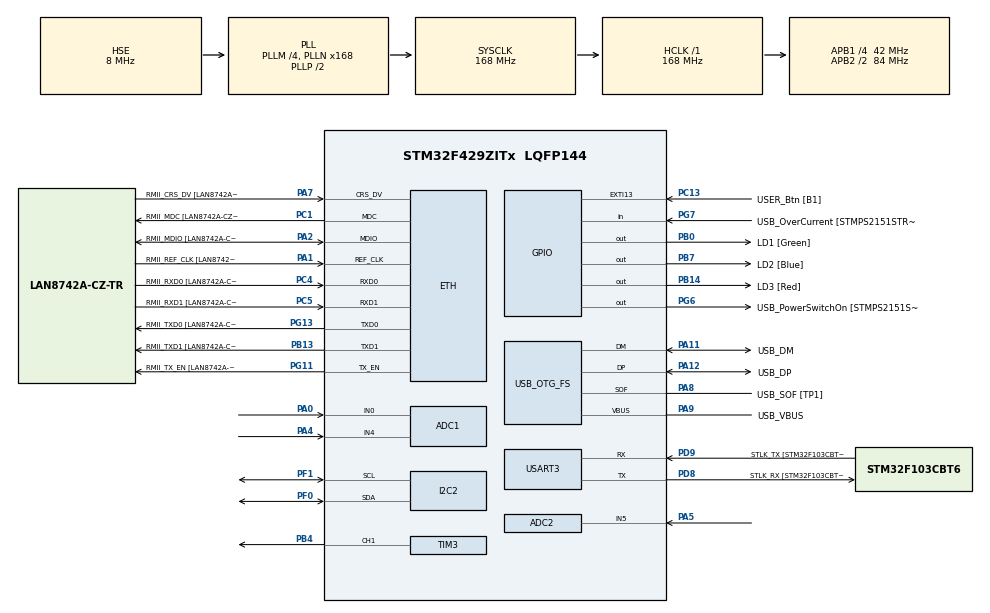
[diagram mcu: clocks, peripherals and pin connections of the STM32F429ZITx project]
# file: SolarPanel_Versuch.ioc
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ADC1.Channel-0\#ChannelRegularConversion=ADC_CHANNEL_0
ADC1.Channel-1\#ChannelRegularConversion=ADC_CHANNEL_0
ADC1.NbrOfConversion=2
ADC1.NbrOfConversionFlag=1
ADC1.Rank-0\#ChannelRegularConversion=1
ADC1.Rank-1\#ChannelRegularConversion=2
ADC1.SamplingTime-0\#ChannelRegularConversion=ADC_SAMPLETIME_3CYCLES
ADC1.SamplingTime-1\#ChannelRegularConversion=ADC_SAMPLETIME_3CYCLES
ADC1.ScanConvMode=ENABLE
ADC1.master=1
ADC2.Channel-0\#ChannelRegularConversion=ADC_CHANNEL_5
ADC2.NbrOfConversionFlag=1
ADC2.Rank-0\#ChannelRegularConversion=1
ADC2.SamplingTime-0\#ChannelRegularConversion=ADC_SAMPLETIME_3CYCLES
ADC2.ScanConvMode=ENABLE
ETH.MediaInterface=HAL_ETH_RMII_MODE
ETH.PHY_Name=LAN8742A_PHY_ADDRESS
ETH.PHY_Value=0
ETH.PhyAddress=0
Mcu.Family=STM32F4
Mcu.Name=STM32F429ZITx
Mcu.Package=LQFP144
NVIC.PriorityGroup=NVIC_PRIORITYGROUP_4
PA0/WKUP.Signal=ADCx_IN0
PA1.GPIO_Label=RMII_REF_CLK [LAN8742A-CZ-TR_REFCLK0]
PA1.Mode=RMII
PA1.Signal=ETH_REF_CLK
PA10.GPIO_Label=USB_ID
PA10.Signal=USB_OTG_FS_ID
PA11.GPIO_Label=USB_DM
PA11.Mode=Device_Only
PA11.Signal=USB_OTG_FS_DM
PA12.GPIO_Label=USB_DP
PA12.Mode=Device_Only
PA12.Signal=USB_OTG_FS_DP
PA13.GPIO_Label=TMS
PA13.Mode=Serial_Wire
PA13.Signal=SYS_JTMS-SWDIO
PA14.GPIO_Label=TCK
PA14.Mode=Serial_Wire
PA14.Signal=SYS_JTCK-SWCLK
PA2.GPIO_Label=RMII_MDIO [LAN8742A-CZ-TR_MDIO]
PA2.Mode=RMII
PA2.Signal=ETH_MDIO
PA4.Signal=ADCx_IN4
PA5.Signal=ADCx_IN5
PA7.GPIO_Label=RMII_CRS_DV [LAN8742A-CZ-TR_CRS_DV]
PA7.Mode=RMII
PA7.Signal=ETH_CRS_DV
PA8.GPIO_Label=USB_SOF [TP1]
PA8.Mode=Activate_SOF_FS
PA8.Signal=USB_OTG_FS_SOF
PA9.GPIO_Label=USB_VBUS
PA9.Mode=Activate_VBUS
PA9.Signal=USB_OTG_FS_VBUS
PB0.GPIO_Label=LD1 [Green]
PB0.Signal=GPIO_Output
PB13.GPIO_Label=RMII_TXD1 [LAN8742A-CZ-TR_TXD1]
PB13.Mode=RMII
PB13.Signal=ETH_TXD1
PB14.GPIO_Label=LD3 [Red]
PB14.Signal=GPIO_Output
PB4.Signal=S_TIM3_CH1
PB7.GPIO_Label=LD2 [Blue]
PB7.Signal=GPIO_Output
PC1.GPIO_Label=RMII_MDC [LAN8742A-CZ-TR_MDC]
PC1.Mode=RMII
PC1.Signal=ETH_MDC
PC13.GPIO_Label=USER_Btn [B1]
PC13.Signal=GPXTI13
PC14/OSC32_IN.Mode=LSE-External-Oscillator
PC14/OSC32_IN.Signal=RCC_OSC32_IN
PC15/OSC32_OUT.Mode=LSE-External-Oscillator
PC15/OSC32_OUT.Signal=RCC_OSC32_OUT
PC4.GPIO_Label=RMII_RXD0 [LAN8742A-CZ-TR_RXD0]
PC4.Mode=RMII
PC4.Signal=ETH_RXD0
PC5.GPIO_Label=RMII_RXD1 [LAN8742A-CZ-TR_RXD1]
PC5.Mode=RMII
PC5.Signal=ETH_RXD1
PD8.GPIO_Label=STLK_RX [STM32F103CBT6_PA3]
PD8.Mode=Asynchronous
PD8.Signal=USART3_TX
PD9.GPIO_Label=STLK_TX [STM32F103CBT6_PA2]
PD9.Mode=Asynchronous
PD9.Signal=USART3_RX
PF0.Mode=I2C
PF0.Signal=I2C2_SDA
PF1.Mode=I2C
PF1.Signal=I2C2_SCL
PG11.GPIO_Label=RMII_TX_EN [LAN8742A-CZ-TR_TXEN]
PG11.Mode=RMII
PG11.Signal=ETH_TX_EN
PG13.GPIO_Label=RMII_TXD0 [LAN8742A-CZ-TR_TXD0]
PG13.Mode=RMII
PG13.Signal=ETH_TXD0
PG6.GPIO_Label=USB_PowerSwitchOn [STMPS2151STR_EN]
PG6.Signal=GPIO_Output
PG7.GPIO_Label=USB_OverCurrent [STMPS2151STR_FAULT]
PG7.Signal=GPIO_Input
PH0/OSC_IN.GPIO_Label=MCO [STM32F103CBT6_PA8]
PH0/OSC_IN.Mode=HSE-External-Clock-Source
PH0/OSC_IN.Signal=RCC_OSC_IN
PH1/OSC_OUT.Mode=HSE-External-Clock-Source
PH1/OSC_OUT.Signal=RCC_OSC_OUT
ProjectManager.HeapSize=0x200
ProjectManager.StackSize=0x400
ProjectManager.TargetToolchain=STM32CubeIDE
RCC.48MHZClocksFreq_Value=48000000
RCC.AHBFreq_Value=168000000
RCC.APB1CLKDivider=RCC_HCLK_DIV4
RCC.APB1Freq_Value=42000000
RCC.APB1TimFreq_Value=84000000
RCC.APB2CLKDivider=RCC_HCLK_DIV2
RCC.APB2Freq_Value=84000000
RCC.APB2TimCLKDivider=2
RCC.APB2TimFreq_Value=168000000
RCC.CortexFreq_Value=168000000
RCC.HCLKFreq_Value=168000000
RCC.HSE_VALUE=8000000
RCC.HSI_VALUE=16000000
RCC.PLLM=4
RCC.PLLMUL=RCC_PLL_MUL9
RCC.PLLN=168
RCC.PLLQ=7
RCC.PRESCALERUSB=RCC_USBCLKSOURCE_PLL_DIV1_5
RCC.SYSCLKFreq_VALUE=168000000
RCC.SYSCLKSource=RCC_SYSCLKSOURCE_PLLCLK
RCC.SYSCLKSourceVirtual=RCC_SYSCLKSOURCE_PLLCLK
RCC.USBFreq_Value=48000000
RCC.VCOOutputFreq_Value=336000000
SH.ADCx_IN0.0=ADC1_IN0,IN0
SH.ADCx_IN4.0=ADC1_IN4,IN4
SH.ADCx_IN5.0=ADC2_IN5,IN5
SH.S_TIM3_CH1.0=TIM3_CH1,PWM Generation1 CH1
TIM3.Channel-PWM\ Generation1\ CH1=TIM_CHANNEL_1
TIM3.Period=19999
TIM3.Prescaler=83
USART3.VirtualMode=VM_ASYNC
USB_OTG_FS.VirtualMode=Device_Only
VP_TIM3_VS_ClockSourceINT.Mode=Internal
board=NUCLEO-F429ZI

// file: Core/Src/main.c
/* USER CODE BEGIN Header */
/**
  ******************************************************************************
  * @file           : main.c
  * @brief          : Main program body
  ******************************************************************************
  * @attention
  *
  * Copyright (c) 2025 STMicroelectronics.
  * All rights reserved.
  *
  * This software is licensed under terms that can be found in the LICENSE file
  * in the root directory of this software component.
  * If no LICENSE file comes with this software, it is provided AS-IS.
  *
  ******************************************************************************
  */
/* USER CODE END Header */
#include "main.h"
#include "string.h"

/* USER CODE BEGIN Includes */
#include "lcd.h"
#include <stdlib.h>
#include <stdio.h>
LCD_HandleTypeDef lcd;

/* USER CODE END Includes */

/* USER CODE BEGIN PM */
uint32_t last_pulse = 1500;
/* USER CODE END PM */

ETH_TxPacketConfig TxConfig;
ETH_DMADescTypeDef  DMARxDscrTab[ETH_RX_DESC_CNT]; /* Ethernet Rx DMA Descriptors */
ETH_DMADescTypeDef  DMATxDscrTab[ETH_TX_DESC_CNT]; /* Ethernet Tx DMA Descriptors */

ADC_HandleTypeDef hadc1;
ADC_HandleTypeDef hadc2;

ETH_HandleTypeDef heth;

I2C_HandleTypeDef hi2c2;

TIM_HandleTypeDef htim3;

UART_HandleTypeDef huart3;

PCD_HandleTypeDef hpcd_USB_OTG_FS;

void SystemClock_Config(void);
static void MX_GPIO_Init(void);
static void MX_ETH_Init(void);
static void MX_USART3_UART_Init(void);
static void MX_USB_OTG_FS_PCD_Init(void);
static void MX_TIM3_Init(void);
static void MX_ADC1_Init(void);
static void MX_I2C2_Init(void);
static void MX_ADC2_Init(void);

/* USER CODE BEGIN 0 */

uint32_t avg(uint8_t n){
    uint32_t prom=0;
    for(uint8_t i=0;i<n;i++){
        HAL_ADC_Start(&hadc1);
        HAL_ADC_PollForConversion(&hadc1, HAL_MAX_DELAY);
        prom += HAL_ADC_GetValue(&hadc1);
    }
    return prom/n;
}

void ServoMove(uint16_t pulse){
	if(pulse <900){
		pulse = 900;
	}
	if(pulse >2100){
		pulse = 2100;
	}
    int dif = abs((int)pulse - (int)last_pulse);
	if(dif<=10){
		return;
	}
	__HAL_TIM_SET_COMPARE(&htim3, TIM_CHANNEL_1, pulse);
	last_pulse = pulse;
}

/* USER CODE END 0 */

int main(void)
{

  /* MCU Configuration--------------------------------------------------------*/

  /* Reset of all peripherals, Initializes the Flash interface and the Systick. */
  HAL_Init();

  /* Configure the system clock */
  SystemClock_Config();

  /* Initialize all configured peripherals */
  MX_GPIO_Init();
  MX_ETH_Init();
  MX_USART3_UART_Init();
  MX_USB_OTG_FS_PCD_Init();
  MX_TIM3_Init();
  MX_ADC1_Init();
  MX_I2C2_Init();
  MX_ADC2_Init();
  /* USER CODE BEGIN 2 */

  //for the display used is versuch 3 auf2
   lcd.i2c      = &hi2c2;
   lcd.i2c_addr = (0x27 << 1);
   lcd.backlight_enable = true;
   LCD_Begin(&lcd);
   LCD_Clear(&lcd);
   LCD_SetCursor(&lcd,0,0);
   //LCD_Print(&lcd, "Hello Jorge"); //testing display prints

  HAL_TIM_PWM_Start(&htim3, TIM_CHANNEL_1);
  //HAL_ADC_Start(&hadc1);

   //Section for seeing which is the maximum value//
  /*for (int i = 1350; i <= 2200; i += 50) {
    __HAL_TIM_SET_COMPARE(&htim3, TIM_CHANNEL_1, i);
    HAL_Delay(200);
  }*/

   //function moving servo

  ServoMove(1000);
  HAL_Delay(2000);
  ServoMove(2000);
  HAL_Delay(2000);
  ServoMove(1500);
  HAL_Delay(2000);

   //Section trying to make the servo work

  /*__HAL_TIM_SET_COMPARE(&htim3, TIM_CHANNEL_1, 1000);
  HAL_Delay(2000);
  __HAL_TIM_SET_COMPARE(&htim3, TIM_CHANNEL_1, 2000);
  HAL_Delay(2000);
  __HAL_TIM_SET_COMPARE(&htim3, TIM_CHANNEL_1, 1500);
  HAL_Delay(2000);*/
  /* USER CODE END 2 */

  /* Infinite loop */
  /* USER CODE BEGIN WHILE */
  while (1)
  {
	  //LDR 1
	  HAL_ADC_Start(&hadc1);
	      HAL_ADC_PollForConversion(&hadc1, HAL_MAX_DELAY);
	      uint32_t value = HAL_ADC_GetValue(&hadc1);
	      LCD_SetCursor(&lcd, 0, 0);
	      LCD_Printf(&lcd, "ADC:%4lu     ", value);

	     // uint32_t value2 = avg(16);
	      //LCD_SetCursor(&lcd, 1, 0);
	      //LCD_Printf(&lcd, "ADC:%4lu     ", value2);

	      HAL_Delay(200);

	      //LDR 2
	      HAL_ADC_Start(&hadc2);
		  HAL_ADC_PollForConversion(&hadc2, HAL_MAX_DELAY);
		  uint32_t value2 = HAL_ADC_GetValue(&hadc2);
		  LCD_SetCursor(&lcd, 1, 0);
		  LCD_Printf(&lcd, "ADC:%4lu     ", value2);

		  HAL_Delay(100);

    /* USER CODE END WHILE */

  }
}

void SystemClock_Config(void)
{
  RCC_OscInitTypeDef RCC_OscInitStruct = {0};
  RCC_ClkInitTypeDef RCC_ClkInitStruct = {0};

  /** Configure the main internal regulator output voltage
  */
  __HAL_RCC_PWR_CLK_ENABLE();
  __HAL_PWR_VOLTAGESCALING_CONFIG(PWR_REGULATOR_VOLTAGE_SCALE1);

  /** Initializes the RCC Oscillators according to the specified parameters
  * in the RCC_OscInitTypeDef structure.
  */
  RCC_OscInitStruct.OscillatorType = RCC_OSCILLATORTYPE_HSE;
  RCC_OscInitStruct.HSEState = RCC_HSE_BYPASS;
  RCC_OscInitStruct.PLL.PLLState = RCC_PLL_ON;
  RCC_OscInitStruct.PLL.PLLSource = RCC_PLLSOURCE_HSE;
  RCC_OscInitStruct.PLL.PLLM = 4;
  RCC_OscInitStruct.PLL.PLLN = 168;
  RCC_OscInitStruct.PLL.PLLP = RCC_PLLP_DIV2;
  RCC_OscInitStruct.PLL.PLLQ = 7;
  if (HAL_RCC_OscConfig(&RCC_OscInitStruct) != HAL_OK)
  {
    Error_Handler();
  }

  /** Initializes the CPU, AHB and APB buses clocks
  */
  RCC_ClkInitStruct.ClockType = RCC_CLOCKTYPE_HCLK|RCC_CLOCKTYPE_SYSCLK
                              |RCC_CLOCKTYPE_PCLK1|RCC_CLOCKTYPE_PCLK2;
  RCC_ClkInitStruct.SYSCLKSource = RCC_SYSCLKSOURCE_PLLCLK;
  RCC_ClkInitStruct.AHBCLKDivider = RCC_SYSCLK_DIV1;
  RCC_ClkInitStruct.APB1CLKDivider = RCC_HCLK_DIV4;
  RCC_ClkInitStruct.APB2CLKDivider = RCC_HCLK_DIV2;

  if (HAL_RCC_ClockConfig(&RCC_ClkInitStruct, FLASH_LATENCY_5) != HAL_OK)
  {
    Error_Handler();
  }
}

static void MX_ADC1_Init(void)
{

  ADC_ChannelConfTypeDef sConfig = {0};

  /** Configure the global features of the ADC (Clock, Resolution, Data Alignment and number of conversion)
  */
  hadc1.Instance = ADC1;
  hadc1.Init.ClockPrescaler = ADC_CLOCK_SYNC_PCLK_DIV4;
  hadc1.Init.Resolution = ADC_RESOLUTION_12B;
  hadc1.Init.ScanConvMode = ENABLE;
  hadc1.Init.ContinuousConvMode = DISABLE;
  hadc1.Init.DiscontinuousConvMode = DISABLE;
  hadc1.Init.ExternalTrigConvEdge = ADC_EXTERNALTRIGCONVEDGE_NONE;
  hadc1.Init.ExternalTrigConv = ADC_SOFTWARE_START;
  hadc1.Init.DataAlign = ADC_DATAALIGN_RIGHT;
  hadc1.Init.NbrOfConversion = 2;
  hadc1.Init.DMAContinuousRequests = DISABLE;
  hadc1.Init.EOCSelection = ADC_EOC_SINGLE_CONV;
  if (HAL_ADC_Init(&hadc1) != HAL_OK)
  {
    Error_Handler();
  }

  /** Configure for the selected ADC regular channel its corresponding rank in the sequencer and its sample time.
  */
  sConfig.Channel = ADC_CHANNEL_0;
  sConfig.Rank = 1;
  sConfig.SamplingTime = ADC_SAMPLETIME_3CYCLES;
  if (HAL_ADC_ConfigChannel(&hadc1, &sConfig) != HAL_OK)
  {
    Error_Handler();
  }

  /** Configure for the selected ADC regular channel its corresponding rank in the sequencer and its sample time.
  */
  sConfig.Rank = 2;
  if (HAL_ADC_ConfigChannel(&hadc1, &sConfig) != HAL_OK)
  {
    Error_Handler();
  }

}

static void MX_ADC2_Init(void)
{

  ADC_ChannelConfTypeDef sConfig = {0};

  /** Configure the global features of the ADC (Clock, Resolution, Data Alignment and number of conversion)
  */
  hadc2.Instance = ADC2;
  hadc2.Init.ClockPrescaler = ADC_CLOCK_SYNC_PCLK_DIV4;
  hadc2.Init.Resolution = ADC_RESOLUTION_12B;
  hadc2.Init.ScanConvMode = ENABLE;
  hadc2.Init.ContinuousConvMode = DISABLE;
  hadc2.Init.DiscontinuousConvMode = DISABLE;
  hadc2.Init.ExternalTrigConvEdge = ADC_EXTERNALTRIGCONVEDGE_NONE;
  hadc2.Init.ExternalTrigConv = ADC_SOFTWARE_START;
  hadc2.Init.DataAlign = ADC_DATAALIGN_RIGHT;
  hadc2.Init.NbrOfConversion = 1;
  hadc2.Init.DMAContinuousRequests = DISABLE;
  hadc2.Init.EOCSelection = ADC_EOC_SINGLE_CONV;
  if (HAL_ADC_Init(&hadc2) != HAL_OK)
  {
    Error_Handler();
  }

  /** Configure for the selected ADC regular channel its corresponding rank in the sequencer and its sample time.
  */
  sConfig.Channel = ADC_CHANNEL_5;
  sConfig.Rank = 1;
  sConfig.SamplingTime = ADC_SAMPLETIME_3CYCLES;
  if (HAL_ADC_ConfigChannel(&hadc2, &sConfig) != HAL_OK)
  {
    Error_Handler();
  }

}

static void MX_ETH_Init(void)
{

   static uint8_t MACAddr[6];

  heth.Instance = ETH;
  MACAddr[0] = 0x00;
  MACAddr[1] = 0x80;
  MACAddr[2] = 0xE1;
  MACAddr[3] = 0x00;
  MACAddr[4] = 0x00;
  MACAddr[5] = 0x00;
  heth.Init.MACAddr = &MACAddr[0];
  heth.Init.MediaInterface = HAL_ETH_RMII_MODE;
  heth.Init.TxDesc = DMATxDscrTab;
  heth.Init.RxDesc = DMARxDscrTab;
  heth.Init.RxBuffLen = 1524;

  if (HAL_ETH_Init(&heth) != HAL_OK)
  {
    Error_Handler();
  }

  memset(&TxConfig, 0 , sizeof(ETH_TxPacketConfig));
  TxConfig.Attributes = ETH_TX_PACKETS_FEATURES_CSUM | ETH_TX_PACKETS_FEATURES_CRCPAD;
  TxConfig.ChecksumCtrl = ETH_CHECKSUM_IPHDR_PAYLOAD_INSERT_PHDR_CALC;
  TxConfig.CRCPadCtrl = ETH_CRC_PAD_INSERT;

}

static void MX_I2C2_Init(void)
{

  hi2c2.Instance = I2C2;
  hi2c2.Init.ClockSpeed = 100000;
  hi2c2.Init.DutyCycle = I2C_DUTYCYCLE_2;
  hi2c2.Init.OwnAddress1 = 0;
  hi2c2.Init.AddressingMode = I2C_ADDRESSINGMODE_7BIT;
  hi2c2.Init.DualAddressMode = I2C_DUALADDRESS_DISABLE;
  hi2c2.Init.OwnAddress2 = 0;
  hi2c2.Init.GeneralCallMode = I2C_GENERALCALL_DISABLE;
  hi2c2.Init.NoStretchMode = I2C_NOSTRETCH_DISABLE;
  if (HAL_I2C_Init(&hi2c2) != HAL_OK)
  {
    Error_Handler();
  }

  /** Configure Analogue filter
  */
  if (HAL_I2CEx_ConfigAnalogFilter(&hi2c2, I2C_ANALOGFILTER_ENABLE) != HAL_OK)
  {
    Error_Handler();
  }

  /** Configure Digital filter
  */
  if (HAL_I2CEx_ConfigDigitalFilter(&hi2c2, 0) != HAL_OK)
  {
    Error_Handler();
  }

}

static void MX_TIM3_Init(void)
{

  TIM_ClockConfigTypeDef sClockSourceConfig = {0};
  TIM_MasterConfigTypeDef sMasterConfig = {0};
  TIM_OC_InitTypeDef sConfigOC = {0};

  htim3.Instance = TIM3;
  htim3.Init.Prescaler = 83;
  htim3.Init.CounterMode = TIM_COUNTERMODE_UP;
  htim3.Init.Period = 19999;
  htim3.Init.ClockDivision = TIM_CLOCKDIVISION_DIV1;
  htim3.Init.AutoReloadPreload = TIM_AUTORELOAD_PRELOAD_DISABLE;
  if (HAL_TIM_Base_Init(&htim3) != HAL_OK)
  {
    Error_Handler();
  }
  sClockSourceConfig.ClockSource = TIM_CLOCKSOURCE_INTERNAL;
  if (HAL_TIM_ConfigClockSource(&htim3, &sClockSourceConfig) != HAL_OK)
  {
    Error_Handler();
  }
  if (HAL_TIM_PWM_Init(&htim3) != HAL_OK)
  {
    Error_Handler();
  }
  sMasterConfig.MasterOutputTrigger = TIM_TRGO_RESET;
  sMasterConfig.MasterSlaveMode = TIM_MASTERSLAVEMODE_DISABLE;
  if (HAL_TIMEx_MasterConfigSynchronization(&htim3, &sMasterConfig) != HAL_OK)
  {
    Error_Handler();
  }
  sConfigOC.OCMode = TIM_OCMODE_PWM1;
  sConfigOC.Pulse = 0;
  sConfigOC.OCPolarity = TIM_OCPOLARITY_HIGH;
  sConfigOC.OCFastMode = TIM_OCFAST_DISABLE;
  if (HAL_TIM_PWM_ConfigChannel(&htim3, &sConfigOC, TIM_CHANNEL_1) != HAL_OK)
  {
    Error_Handler();
  }
  HAL_TIM_MspPostInit(&htim3);

}

static void MX_USART3_UART_Init(void)
{

  huart3.Instance = USART3;
  huart3.Init.BaudRate = 115200;
  huart3.Init.WordLength = UART_WORDLENGTH_8B;
  huart3.Init.StopBits = UART_STOPBITS_1;
  huart3.Init.Parity = UART_PARITY_NONE;
  huart3.Init.Mode = UART_MODE_TX_RX;
  huart3.Init.HwFlowCtl = UART_HWCONTROL_NONE;
  huart3.Init.OverSampling = UART_OVERSAMPLING_16;
  if (HAL_UART_Init(&huart3) != HAL_OK)
  {
    Error_Handler();
  }

}

static void MX_USB_OTG_FS_PCD_Init(void)
{

  hpcd_USB_OTG_FS.Instance = USB_OTG_FS;
  hpcd_USB_OTG_FS.Init.dev_endpoints = 4;
  hpcd_USB_OTG_FS.Init.speed = PCD_SPEED_FULL;
  hpcd_USB_OTG_FS.Init.dma_enable = DISABLE;
  hpcd_USB_OTG_FS.Init.phy_itface = PCD_PHY_EMBEDDED;
  hpcd_USB_OTG_FS.Init.Sof_enable = ENABLE;
  hpcd_USB_OTG_FS.Init.low_power_enable = DISABLE;
  hpcd_USB_OTG_FS.Init.lpm_enable = DISABLE;
  hpcd_USB_OTG_FS.Init.vbus_sensing_enable = ENABLE;
  hpcd_USB_OTG_FS.Init.use_dedicated_ep1 = DISABLE;
  if (HAL_PCD_Init(&hpcd_USB_OTG_FS) != HAL_OK)
  {
    Error_Handler();
  }

}

static void MX_GPIO_Init(void)
{
  GPIO_InitTypeDef GPIO_InitStruct = {0};

  /* GPIO Ports Clock Enable */
  __HAL_RCC_GPIOC_CLK_ENABLE();
  __HAL_RCC_GPIOF_CLK_ENABLE();
  __HAL_RCC_GPIOH_CLK_ENABLE();
  __HAL_RCC_GPIOA_CLK_ENABLE();
  __HAL_RCC_GPIOB_CLK_ENABLE();
  __HAL_RCC_GPIOD_CLK_ENABLE();
  __HAL_RCC_GPIOG_CLK_ENABLE();

  /*Configure GPIO pin Output Level */
  HAL_GPIO_WritePin(GPIOB, LD1_Pin|LD3_Pin|LD2_Pin, GPIO_PIN_RESET);

  /*Configure GPIO pin Output Level */
  HAL_GPIO_WritePin(USB_PowerSwitchOn_GPIO_Port, USB_PowerSwitchOn_Pin, GPIO_PIN_RESET);

  /*Configure GPIO pin : USER_Btn_Pin */
  GPIO_InitStruct.Pin = USER_Btn_Pin;
  GPIO_InitStruct.Mode = GPIO_MODE_IT_RISING;
  GPIO_InitStruct.Pull = GPIO_NOPULL;
  HAL_GPIO_Init(USER_Btn_GPIO_Port, &GPIO_InitStruct);

  /*Configure GPIO pins : LD1_Pin LD3_Pin LD2_Pin */
  GPIO_InitStruct.Pin = LD1_Pin|LD3_Pin|LD2_Pin;
  GPIO_InitStruct.Mode = GPIO_MODE_OUTPUT_PP;
  GPIO_InitStruct.Pull = GPIO_NOPULL;
  GPIO_InitStruct.Speed = GPIO_SPEED_FREQ_LOW;
  HAL_GPIO_Init(GPIOB, &GPIO_InitStruct);

  /*Configure GPIO pin : USB_PowerSwitchOn_Pin */
  GPIO_InitStruct.Pin = USB_PowerSwitchOn_Pin;
  GPIO_InitStruct.Mode = GPIO_MODE_OUTPUT_PP;
  GPIO_InitStruct.Pull = GPIO_NOPULL;
  GPIO_InitStruct.Speed = GPIO_SPEED_FREQ_LOW;
  HAL_GPIO_Init(USB_PowerSwitchOn_GPIO_Port, &GPIO_InitStruct);

  /*Configure GPIO pin : USB_OverCurrent_Pin */
  GPIO_InitStruct.Pin = USB_OverCurrent_Pin;
  GPIO_InitStruct.Mode = GPIO_MODE_INPUT;
  GPIO_InitStruct.Pull = GPIO_NOPULL;
  HAL_GPIO_Init(USB_OverCurrent_GPIO_Port, &GPIO_InitStruct);

}

void Error_Handler(void)
{
  __disable_irq();
  while (1)
  {
  }
}
